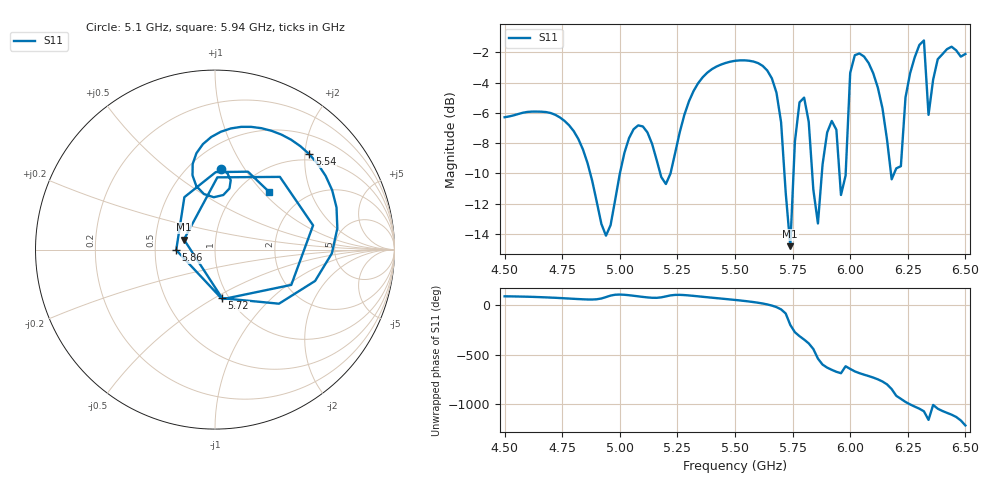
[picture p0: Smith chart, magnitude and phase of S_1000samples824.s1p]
! TOUCHSTONE file generated by CST MICROWAVE STUDIO
! Date and time: Sat Oct 29 12:37:14 2022
! Project name: L.cst
! Parameters = {Di=1.27; Epsilon_r=1.56; InnerDiameter=1.27; Length=2; Lf=10; Lg=60; OuterConductorThickness=0.2921; OuterDiameter=3.6; Wf=3; Wp=41.2; de=1.5; df=6.8; g=0.8; gx=0.819714; gy=2.22074; h=2.34; hf=1.524; px=13.3906; py=13.9727; w=9.7; wx=12.5709; wy=11.752}
! Header version: 2018
! Port assignment regex: !\s*Touchstone port\s*([0-9]+)\s*=\s*(CST MWS port|CST DS port)\s*([0-9]+|Zmin|Zmax)\s*\(\"(.*)\"\)(\s*mode\s*([0-9]+))?.*
! Touchstone port assignment:
! Touchstone port 1 = CST MWS port 1 ("")
# GHz S DB R 50
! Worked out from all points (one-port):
!   101 points, 4.5 GHz to 6.5 GHz, reference 50 ohm
!   lowest |S11| = -14.8 dB at 5.74 GHz (marker M1), VSWR 1.44, Z = 35.1 + j4.08 ohm
!   |S11| at or under -10 dB: 4.872 GHz to 5 GHz (128.5 MHz wide, 2.6 % of centre); 5.176 GHz to 5.22 GHz (44.37 MHz wide, 0.854 % of centre); 5.715 GHz to 5.754 GHz (39.33 MHz wide, 0.686 % of centre) (the widest 3 of 6)
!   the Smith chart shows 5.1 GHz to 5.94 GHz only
!   S11 on the Smith chart (normalised r, x): 5.1 GHz: 0.70, +0.79; 5.54 GHz: 0.87, +2.09; 5.72 GHz: 0.93, -0.54; 5.86 GHz: 0.64, -0.00; 5.94 GHz: 1.36, +1.09
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4.5  -6.29 92.1
4.76  -6.53 72.0
5  -10.02 110.0
5.1  -6.90 86.0
5.26  -7.29 106.9
5.5  -2.56 55.3
5.54  -2.53 45.3
5.66  -3.72 -1.8
5.72  -11.26 -81.7
5.74  -14.81 162.0
5.76  -7.90 88.1
5.8  -4.99 13.9
5.84  -11.07 -81.6
5.86  -13.31 -179.3
5.9  -7.29 89.4
5.94  -7.11 47.1
5.96  -11.42 32.6
6  -3.36 76.4
6.06  -2.28 18.4
6.14  -5.69 -51.1
6.2  -9.67 163.8
6.26  -3.38 76.7
6.32  -1.22 6.9
6.34  -6.13 -79.9
6.36  -3.81 71.2
6.42  -1.79 -8.6
6.46  -1.87 -50.4
6.5  -2.11 -136.5
